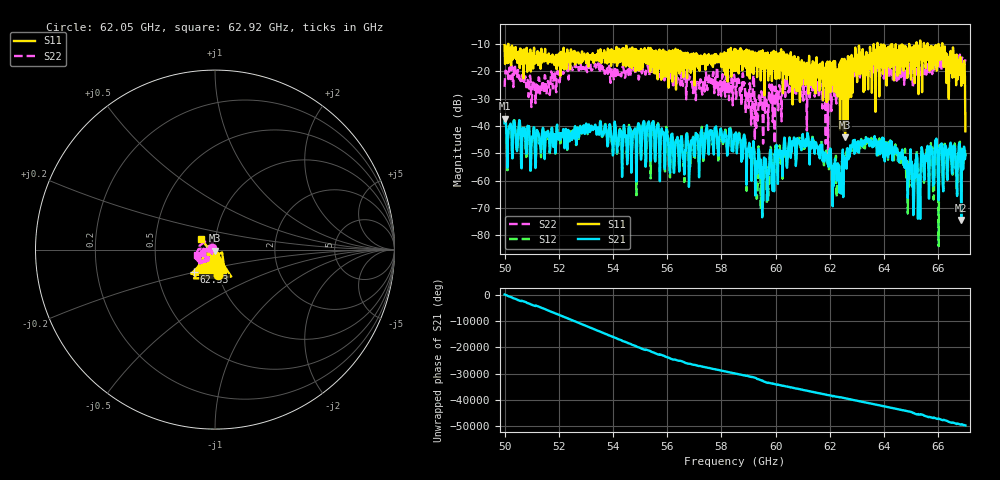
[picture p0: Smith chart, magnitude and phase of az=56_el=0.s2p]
!Created with skrf (http://scikit-rf.org).
# GHz S RI R 50.0
!freq ReS11 ImS11 ReS21 ImS21 ReS12 ImS12 ReS22 ImS22
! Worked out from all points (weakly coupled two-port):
!   1001 points, 50 GHz to 67 GHz, reference 50 ohm
!   highest |S21| = -37.29 dB at 50.02 GHz (marker M1); lowest = -74.4 dB at 66.85 GHz (marker M2)
!   lowest |S11| = -44.2 dB at 62.56 GHz (marker M3), VSWR 1.01, Z = 49.8 - j0.598 ohm
!   |S11| at or under -10 dB: 50.14 GHz to 63.75 GHz (13.62 GHz wide, 23.9 % of centre); 63.75 GHz to 64.93 GHz (1.171 GHz wide, 1.82 % of centre); 66.15 GHz to end of sweep (the widest 3 of 9)
!   |S22| runs from -52.8 to -13.9 dB; largest |S21 - S12| = 0.0025
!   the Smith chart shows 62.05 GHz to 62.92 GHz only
!   S11 on the Smith chart (normalised r, x): 62.05 GHz: 1.00, -0.28; 62.53 GHz: 0.77, -0.19; 62.92 GHz: 0.85, +0.10
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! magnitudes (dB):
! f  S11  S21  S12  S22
! 50 GHz  -10.4  -39.1  -38.8  -25.7
! 50.02 GHz  -17.3  -37.3  -37.2  -21.8
! 51.07 GHz  -12.9  -40.5  -40.9  -24.4
! 52.84 GHz  -14.7  -42.6  -42.8  -19.3
! 55.68 GHz  -13.7  -39.8  -39.9  -22.3
! 56.6 GHz  -22.2  -51.4  -54.6  -23.8
! 58.5 GHz  -19.9  -44.1  -44.3  -23.8
! 59.49 GHz  -15.0  -55.1  -57.9  -27.8
! 60.64 GHz  -14.9  -46.8  -46.7  -22.2
! 61.34 GHz  -24.3  -44.9  -47.1  -24.6
! 61.88 GHz  -31.3  -50.8  -51.7  -23.1
! 62.05 GHz  -17.0  -55.3  -54.9  -34.6
! 62.34 GHz  -18.2  -54.5  -55.2  -24.4
! 62.53 GHz  -15.5  -52.5  -53.9  -19.0
! 62.56 GHz  -44.2  -54.2  -51.5  -19.8
! 62.92 GHz  -20.1  -45.1  -45.8  -19.6
! 64.18 GHz  -18.2  -47.7  -45.8  -18.4
! 65.08 GHz  -15.0  -72.6  -62.9  -24.1
! 65.33 GHz  -8.7  -74.0  -60.1  -18.9
! 65.45 GHz  -13.2  -55.0  -55.5  -17.9
! 66.85 GHz  -25.3  -74.4  -65.1  -19.0
! 67 GHz  -41.9  -50.5  -51.2  -15.6
